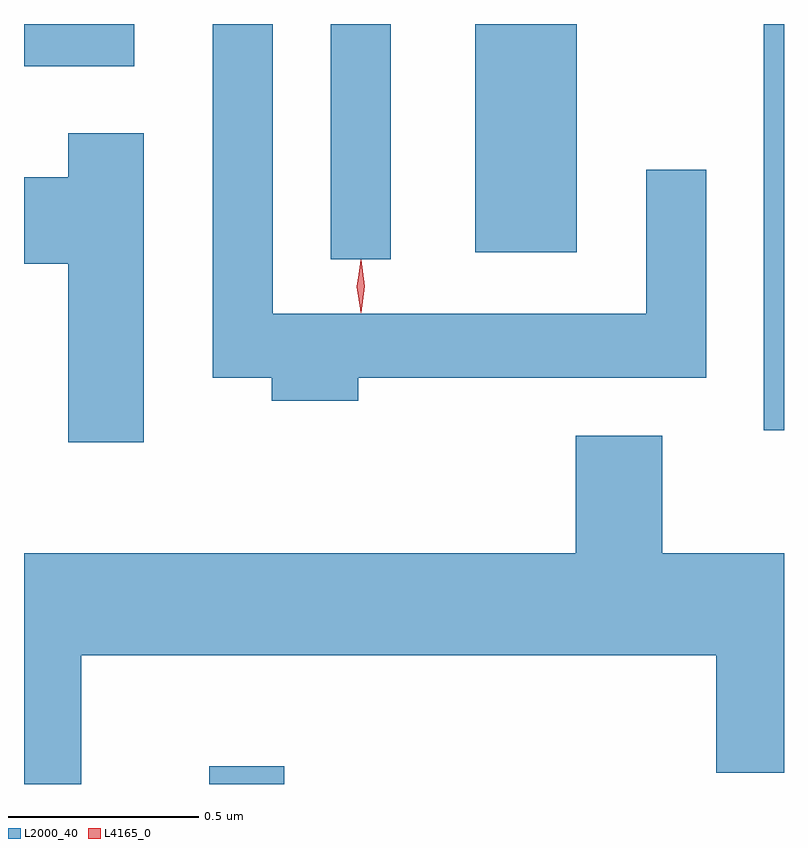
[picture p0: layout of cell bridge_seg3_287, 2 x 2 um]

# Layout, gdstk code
import gdstk
lib = gdstk.Library(unit=1e-6, precision=1e-09)
def R(c, l, rs):  # rectangles x0, y0, x1, y1
    for r in rs: c.add(gdstk.rectangle(r[:2], r[2:], *l))
def P(c, l, *ps):  # polygons
    for p in ps: c.add(gdstk.Polygon(p, *l))
L2000_40 = (2000, 40)
L4165_0 = (4165, 0)

bridge_seg3_287 = lib.new_cell('bridge_seg3_287')
R(bridge_seg3_287, L2000_40, [(1077.026,1143.437,1077.224,1143.484), (1078.486,1144.368,1078.539,1145.437), (1077.346,1144.818,1077.504,1145.437), (1077.726,1144.836,1077.994,1145.437), (1076.539,1145.326,1076.829,1145.437)])
P(bridge_seg3_287, L2000_40, [(1077.419,1144.506),(1078.334,1144.506),(1078.334,1145.053),(1078.176,1145.053),(1078.176,1144.674),(1077.194,1144.674),(1077.194,1145.437),(1077.036,1145.437),(1077.036,1144.506),(1077.191,1144.506),(1077.191,1144.446),(1077.419,1144.446)],
  [(1076.854,1145.149),(1076.656,1145.149),(1076.656,1145.034),(1076.539,1145.034),(1076.539,1144.806),(1076.656,1144.806),(1076.656,1144.336),(1076.854,1144.336)],
  [(1076.689,1143.776),(1078.361,1143.776),(1078.361,1143.466),(1078.539,1143.466),(1078.539,1144.044),(1078.219,1144.044),(1078.219,1144.354),(1077.991,1144.354),(1077.991,1144.044),(1076.539,1144.044),(1076.539,1143.437),(1076.689,1143.437)])
P(bridge_seg3_287, L4165_0, [(1077.425,1144.679),(1077.425,1144.68),(1077.415,1144.746),(1077.425,1144.812),(1077.425,1144.813),(1077.426,1144.812),(1077.435,1144.746),(1077.426,1144.68)],
  [(1077.425,1144.677),(1077.416,1144.747),(1077.425,1144.816),(1077.426,1144.816),(1077.426,1144.816),(1077.436,1144.747),(1077.426,1144.677),(1077.426,1144.677)])

lib.write_gds('bridge_seg3_287.gds')
